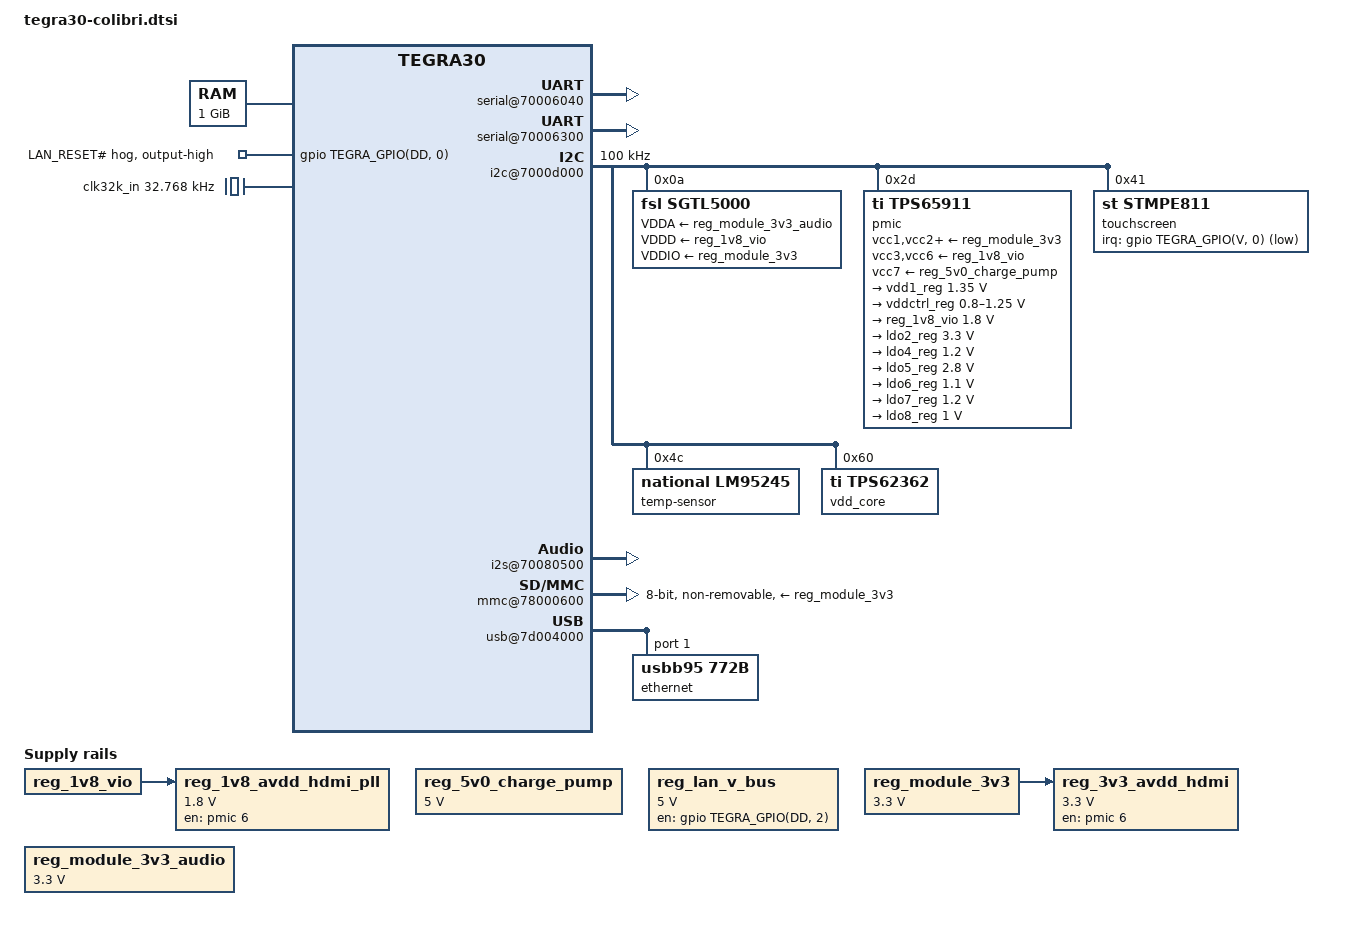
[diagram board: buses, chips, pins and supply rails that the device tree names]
// SPDX-License-Identifier: GPL-2.0
#include "tegra30.dtsi"

/*
 * Toradex Colibri T30 Module Device Tree
 * Compatible for Revisions V1.1B, V1.1C, V1.1D, V1.1E, V1.1F; IT: V1.1A, V1.1B
 */
/ {
	memory@80000000 {
		reg = <0x80000000 0x40000000>;
	};

	host1x@50000000 {
		hdmi@54280000 {
			nvidia,ddc-i2c-bus = <&hdmi_ddc>;
			nvidia,hpd-gpio =
				<&gpio TEGRA_GPIO(N, 7) GPIO_ACTIVE_HIGH>;
			pll-supply = <&reg_1v8_avdd_hdmi_pll>;
			vdd-supply = <&reg_3v3_avdd_hdmi>;
		};
	};

	gpio: gpio@6000d000 {
		lan-reset-n-hog {
			gpio-hog;
			gpios = <TEGRA_GPIO(DD, 0) GPIO_ACTIVE_HIGH>;
			output-high;
			line-name = "LAN_RESET#";
		};
	};

	pinmux@70000868 {
		pinctrl-names = "default";
		pinctrl-0 = <&state_default>;

		state_default: pinmux {
			/* Analogue Audio (On-module) */
			clk1-out-pw4 {
				nvidia,pins = "clk1_out_pw4";
				nvidia,function = "extperiph1";
				nvidia,pull = <TEGRA_PIN_PULL_NONE>;
				nvidia,tristate = <TEGRA_PIN_DISABLE>;
				nvidia,enable-input = <TEGRA_PIN_DISABLE>;
			};
			dap3-fs-pp0 {
				nvidia,pins = "dap3_fs_pp0",
					      "dap3_sclk_pp3",
					      "dap3_din_pp1",
					      "dap3_dout_pp2";
				nvidia,function = "i2s2";
				nvidia,pull = <TEGRA_PIN_PULL_NONE>;
				nvidia,tristate = <TEGRA_PIN_DISABLE>;
			};

			/* Colibri Address/Data Bus (GMI) */
			gmi-ad0-pg0 {
				nvidia,pins = "gmi_ad0_pg0",
					      "gmi_ad2_pg2",
					      "gmi_ad3_pg3",
					      "gmi_ad4_pg4",
					      "gmi_ad5_pg5",
					      "gmi_ad6_pg6",
					      "gmi_ad7_pg7",
					      "gmi_ad8_ph0",
					      "gmi_ad9_ph1",
					      "gmi_ad10_ph2",
					      "gmi_ad11_ph3",
					      "gmi_ad12_ph4",
					      "gmi_ad13_ph5",
					      "gmi_ad14_ph6",
					      "gmi_ad15_ph7",
					      "gmi_adv_n_pk0",
					      "gmi_clk_pk1",
					      "gmi_cs4_n_pk2",
					      "gmi_cs2_n_pk3",
					      "gmi_iordy_pi5",
					      "gmi_oe_n_pi1",
					      "gmi_wait_pi7",
					      "gmi_wr_n_pi0",
					      "dap1_fs_pn0",
					      "dap1_din_pn1",
					      "dap1_dout_pn2",
					      "dap1_sclk_pn3",
					      "dap2_fs_pa2",
					      "dap2_sclk_pa3",
					      "dap2_din_pa4",
					      "dap2_dout_pa5",
					      "spi1_sck_px5",
					      "spi1_mosi_px4",
					      "spi1_cs0_n_px6",
					      "spi2_cs0_n_px3",
					      "spi2_miso_px1",
					      "spi2_mosi_px0",
					      "spi2_sck_px2",
					      "uart2_cts_n_pj5",
					      "uart2_rts_n_pj6";
				nvidia,function = "gmi";
				nvidia,pull = <TEGRA_PIN_PULL_NONE>;
				nvidia,tristate = <TEGRA_PIN_DISABLE>;
				nvidia,enable-input = <TEGRA_PIN_ENABLE>;
			};
			/* Further pins may be used as GPIOs */
			dap4-din-pp5 {
				nvidia,pins = "dap4_din_pp5",
					      "dap4_dout_pp6",
					      "dap4_fs_pp4",
					      "dap4_sclk_pp7",
					      "pbb7",
					      "sdmmc1_clk_pz0",
					      "sdmmc1_cmd_pz1",
					      "sdmmc1_dat0_py7",
					      "sdmmc1_dat1_py6",
					      "sdmmc1_dat3_py4",
					      "uart3_cts_n_pa1",
					      "uart3_txd_pw6",
					      "uart3_rxd_pw7";
				nvidia,function = "rsvd2";
				nvidia,pull = <TEGRA_PIN_PULL_NONE>;
				nvidia,tristate = <TEGRA_PIN_DISABLE>;
				nvidia,enable-input = <TEGRA_PIN_ENABLE>;
			};
			lcd-d18-pm2 {
				nvidia,pins = "lcd_d18_pm2",
					      "lcd_d19_pm3",
					      "lcd_d20_pm4",
					      "lcd_d21_pm5",
					      "lcd_d22_pm6",
					      "lcd_d23_pm7",
					      "lcd_dc0_pn6",
					      "pex_l2_clkreq_n_pcc7";
				nvidia,function = "rsvd3";
				nvidia,pull = <TEGRA_PIN_PULL_NONE>;
				nvidia,tristate = <TEGRA_PIN_DISABLE>;
				nvidia,enable-input = <TEGRA_PIN_ENABLE>;
			};
			lcd-cs0-n-pn4 {
				nvidia,pins = "lcd_cs0_n_pn4",
					      "lcd_sdin_pz2",
					      "pu0",
					      "pu1",
					      "pu2",
					      "pu3",
					      "pu4",
					      "pu5",
					      "pu6",
					      "spi1_miso_px7",
					      "uart3_rts_n_pc0";
				nvidia,function = "rsvd4";
				nvidia,pull = <TEGRA_PIN_PULL_NONE>;
				nvidia,tristate = <TEGRA_PIN_DISABLE>;
				nvidia,enable-input = <TEGRA_PIN_ENABLE>;
			};
			lcd-pwr0-pb2 {
				nvidia,pins = "lcd_pwr0_pb2",
					      "lcd_sck_pz4",
					      "lcd_sdout_pn5",
					      "lcd_wr_n_pz3";
				nvidia,function = "hdcp";
				nvidia,pull = <TEGRA_PIN_PULL_NONE>;
				nvidia,tristate = <TEGRA_PIN_DISABLE>;
				nvidia,enable-input = <TEGRA_PIN_ENABLE>;
			};
			pbb4 {
				nvidia,pins = "pbb4",
					      "pbb5",
					      "pbb6";
				nvidia,function = "displayb";
				nvidia,pull = <TEGRA_PIN_PULL_NONE>;
				nvidia,tristate = <TEGRA_PIN_DISABLE>;
				nvidia,enable-input = <TEGRA_PIN_ENABLE>;
			};
			/* Multiplexed RDnWR and therefore disabled */
			lcd-cs1-n-pw0 {
				nvidia,pins = "lcd_cs1_n_pw0";
				nvidia,function = "rsvd4";
				nvidia,pull = <TEGRA_PIN_PULL_DOWN>;
				nvidia,tristate = <TEGRA_PIN_ENABLE>;
				nvidia,enable-input = <TEGRA_PIN_DISABLE>;
			};
			/* Multiplexed GMI_CLK and therefore disabled */
			owr {
				nvidia,pins = "owr";
				nvidia,function = "rsvd3";
				nvidia,pull = <TEGRA_PIN_PULL_DOWN>;
				nvidia,tristate = <TEGRA_PIN_ENABLE>;
				nvidia,enable-input = <TEGRA_PIN_DISABLE>;
			};
			/* Tri-stating GMI_WR_N on nPWE SODIMM pin 99 */
			sdmmc3-dat4-pd1 {
				nvidia,pins = "sdmmc3_dat4_pd1";
				nvidia,function = "sdmmc3";
				nvidia,pull = <TEGRA_PIN_PULL_UP>;
				nvidia,tristate = <TEGRA_PIN_ENABLE>;
				nvidia,enable-input = <TEGRA_PIN_DISABLE>;
			};
			/* Not tri-stating GMI_WR_N on RDnWR SODIMM pin 93 */
			sdmmc3-dat5-pd0 {
				nvidia,pins = "sdmmc3_dat5_pd0";
				nvidia,function = "sdmmc3";
				nvidia,pull = <TEGRA_PIN_PULL_DOWN>;
				nvidia,tristate = <TEGRA_PIN_ENABLE>;
				nvidia,enable-input = <TEGRA_PIN_DISABLE>;
			};

			/* Colibri BL_ON */
			pv2 {
				nvidia,pins = "pv2";
				nvidia,function = "rsvd4";
				nvidia,pull = <TEGRA_PIN_PULL_NONE>;
				nvidia,tristate = <TEGRA_PIN_DISABLE>;
			};

			/* Colibri Backlight PWM<A> */
			sdmmc3-dat3-pb4 {
				nvidia,pins = "sdmmc3_dat3_pb4";
				nvidia,function = "pwm0";
				nvidia,pull = <TEGRA_PIN_PULL_NONE>;
				nvidia,tristate = <TEGRA_PIN_DISABLE>;
			};

			/* Colibri CAN_INT */
			kb-row8-ps0 {
				nvidia,pins = "kb_row8_ps0";
				nvidia,function = "kbc";
				nvidia,pull = <TEGRA_PIN_PULL_NONE>;
				nvidia,tristate = <TEGRA_PIN_DISABLE>;
				nvidia,enable-input = <TEGRA_PIN_ENABLE>;
			};

			/* Colibri DDC */
			ddc-scl-pv4 {
				nvidia,pins = "ddc_scl_pv4",
					      "ddc_sda_pv5";
				nvidia,function = "i2c4";
				nvidia,pull = <TEGRA_PIN_PULL_NONE>;
				nvidia,tristate = <TEGRA_PIN_DISABLE>;
				nvidia,enable-input = <TEGRA_PIN_ENABLE>;
			};

			/* Colibri EXT_IO* */
			gen2-i2c-scl-pt5 {
				nvidia,pins = "gen2_i2c_scl_pt5",
					      "gen2_i2c_sda_pt6";
				nvidia,function = "rsvd4";
				nvidia,open-drain = <TEGRA_PIN_DISABLE>;
				nvidia,pull = <TEGRA_PIN_PULL_NONE>;
				nvidia,tristate = <TEGRA_PIN_DISABLE>;
				nvidia,enable-input = <TEGRA_PIN_ENABLE>;
			};
			spdif-in-pk6 {
				nvidia,pins = "spdif_in_pk6";
				nvidia,function = "hda";
				nvidia,pull = <TEGRA_PIN_PULL_NONE>;
				nvidia,tristate = <TEGRA_PIN_DISABLE>;
				nvidia,enable-input = <TEGRA_PIN_ENABLE>;
			};

			/* Colibri GPIO */
			clk2-out-pw5 {
				nvidia,pins = "clk2_out_pw5",
					      "pcc2",
					      "pv3",
					      "sdmmc1_dat2_py5";
				nvidia,function = "rsvd2";
				nvidia,pull = <TEGRA_PIN_PULL_NONE>;
				nvidia,tristate = <TEGRA_PIN_DISABLE>;
				nvidia,enable-input = <TEGRA_PIN_ENABLE>;
			};
			lcd-pwr1-pc1 {
				nvidia,pins = "lcd_pwr1_pc1",
					      "pex_l1_clkreq_n_pdd6",
					      "pex_l1_rst_n_pdd5";
				nvidia,function = "rsvd3";
				nvidia,pull = <TEGRA_PIN_PULL_NONE>;
				nvidia,tristate = <TEGRA_PIN_DISABLE>;
				nvidia,enable-input = <TEGRA_PIN_ENABLE>;
			};
			pv1 {
				nvidia,pins = "pv1",
					      "sdmmc3_dat0_pb7",
					      "sdmmc3_dat1_pb6";
				nvidia,function = "rsvd1";
				nvidia,pull = <TEGRA_PIN_PULL_NONE>;
				nvidia,tristate = <TEGRA_PIN_DISABLE>;
				nvidia,enable-input = <TEGRA_PIN_ENABLE>;
			};

			/* Colibri HOTPLUG_DETECT (HDMI) */
			hdmi-int-pn7 {
				nvidia,pins = "hdmi_int_pn7";
				nvidia,function = "hdmi";
				nvidia,pull = <TEGRA_PIN_PULL_NONE>;
				nvidia,tristate = <TEGRA_PIN_ENABLE>;
				nvidia,enable-input = <TEGRA_PIN_ENABLE>;
			};

			/* Colibri I2C */
			gen1-i2c-scl-pc4 {
				nvidia,pins = "gen1_i2c_scl_pc4",
					      "gen1_i2c_sda_pc5";
				nvidia,function = "i2c1";
				nvidia,pull = <TEGRA_PIN_PULL_NONE>;
				nvidia,tristate = <TEGRA_PIN_DISABLE>;
				nvidia,enable-input = <TEGRA_PIN_ENABLE>;
				nvidia,open-drain = <TEGRA_PIN_ENABLE>;
			};

			/* Colibri LCD (L_* resp. LDD<*>) */
			lcd-d0-pe0 {
				nvidia,pins = "lcd_d0_pe0",
					      "lcd_d1_pe1",
					      "lcd_d2_pe2",
					      "lcd_d3_pe3",
					      "lcd_d4_pe4",
					      "lcd_d5_pe5",
					      "lcd_d6_pe6",
					      "lcd_d7_pe7",
					      "lcd_d8_pf0",
					      "lcd_d9_pf1",
					      "lcd_d10_pf2",
					      "lcd_d11_pf3",
					      "lcd_d12_pf4",
					      "lcd_d13_pf5",
					      "lcd_d14_pf6",
					      "lcd_d15_pf7",
					      "lcd_d16_pm0",
					      "lcd_d17_pm1",
					      "lcd_de_pj1",
					      "lcd_hsync_pj3",
					      "lcd_pclk_pb3",
					      "lcd_vsync_pj4";
				nvidia,function = "displaya";
				nvidia,pull = <TEGRA_PIN_PULL_NONE>;
				nvidia,tristate = <TEGRA_PIN_DISABLE>;
				nvidia,enable-input = <TEGRA_PIN_ENABLE>;
			};
			/*
			 * Colibri L_BIAS, LCD_M1 is muxed with LCD_DE
			 * today's display need DE, disable LCD_M1
			 */
			lcd-m1-pw1 {
				nvidia,pins = "lcd_m1_pw1";
				nvidia,function = "rsvd3";
				nvidia,pull = <TEGRA_PIN_PULL_DOWN>;
				nvidia,tristate = <TEGRA_PIN_ENABLE>;
				nvidia,enable-input = <TEGRA_PIN_DISABLE>;
			};

			/* Colibri MMC */
			kb-row10-ps2 {
				nvidia,pins = "kb_row10_ps2";
				nvidia,function = "sdmmc2";
				nvidia,pull = <TEGRA_PIN_PULL_NONE>;
				nvidia,tristate = <TEGRA_PIN_DISABLE>;
			};
			kb-row11-ps3 {
				nvidia,pins = "kb_row11_ps3",
					      "kb_row12_ps4",
					      "kb_row13_ps5",
					      "kb_row14_ps6",
					      "kb_row15_ps7";
				nvidia,function = "sdmmc2";
				nvidia,pull = <TEGRA_PIN_PULL_UP>;
				nvidia,tristate = <TEGRA_PIN_DISABLE>;
			};
			/* Colibri MMC_CD */
			gmi-wp-n-pc7 {
				nvidia,pins = "gmi_wp_n_pc7";
				nvidia,function = "rsvd1";
				nvidia,pull = <TEGRA_PIN_PULL_UP>;
				nvidia,tristate = <TEGRA_PIN_DISABLE>;
				nvidia,enable-input = <TEGRA_PIN_ENABLE>;
			};
			/* Multiplexed and therefore disabled */
			cam-mclk-pcc0 {
				nvidia,pins = "cam_mclk_pcc0";
				nvidia,function = "vi_alt3";
				nvidia,pull = <TEGRA_PIN_PULL_DOWN>;
				nvidia,tristate = <TEGRA_PIN_ENABLE>;
				nvidia,enable-input = <TEGRA_PIN_DISABLE>;
			};
			cam-i2c-scl-pbb1 {
				nvidia,pins = "cam_i2c_scl_pbb1",
					      "cam_i2c_sda_pbb2";
				nvidia,function = "rsvd3";
				nvidia,pull = <TEGRA_PIN_PULL_DOWN>;
				nvidia,tristate = <TEGRA_PIN_ENABLE>;
				nvidia,enable-input = <TEGRA_PIN_DISABLE>;
				nvidia,open-drain = <TEGRA_PIN_DISABLE>;
			};
			pbb0 {
				nvidia,pins = "pbb0",
					      "pcc1";
				nvidia,function = "rsvd2";
				nvidia,pull = <TEGRA_PIN_PULL_DOWN>;
				nvidia,tristate = <TEGRA_PIN_ENABLE>;
				nvidia,enable-input = <TEGRA_PIN_DISABLE>;
			};
			pbb3 {
				nvidia,pins = "pbb3";
				nvidia,function = "displayb";
				nvidia,pull = <TEGRA_PIN_PULL_DOWN>;
				nvidia,tristate = <TEGRA_PIN_ENABLE>;
				nvidia,enable-input = <TEGRA_PIN_DISABLE>;
			};

			/* Colibri nRESET_OUT */
			gmi-rst-n-pi4 {
				nvidia,pins = "gmi_rst_n_pi4";
				nvidia,function = "gmi";
				nvidia,pull = <TEGRA_PIN_PULL_NONE>;
				nvidia,tristate = <TEGRA_PIN_DISABLE>;
			};

			/*
			 * Colibri Parallel Camera (Optional)
			 * pins multiplexed with others and therefore disabled
			 */
			vi-vsync-pd6 {
				nvidia,pins = "vi_d0_pt4",
					      "vi_d1_pd5",
					      "vi_d2_pl0",
					      "vi_d3_pl1",
					      "vi_d4_pl2",
					      "vi_d5_pl3",
					      "vi_d6_pl4",
					      "vi_d7_pl5",
					      "vi_d8_pl6",
					      "vi_d9_pl7",
					      "vi_d10_pt2",
					      "vi_d11_pt3",
					      "vi_hsync_pd7",
					      "vi_mclk_pt1",
					      "vi_pclk_pt0",
					      "vi_vsync_pd6";
				nvidia,function = "vi";
				nvidia,pull = <TEGRA_PIN_PULL_DOWN>;
				nvidia,tristate = <TEGRA_PIN_ENABLE>;
				nvidia,enable-input = <TEGRA_PIN_DISABLE>;
			};

			/* Colibri PWM<B> */
			sdmmc3-dat2-pb5 {
				nvidia,pins = "sdmmc3_dat2_pb5";
				nvidia,function = "pwm1";
				nvidia,pull = <TEGRA_PIN_PULL_NONE>;
				nvidia,tristate = <TEGRA_PIN_DISABLE>;
			};

			/* Colibri PWM<C> */
			sdmmc3-clk-pa6 {
				nvidia,pins = "sdmmc3_clk_pa6";
				nvidia,function = "pwm2";
				nvidia,pull = <TEGRA_PIN_PULL_NONE>;
				nvidia,tristate = <TEGRA_PIN_DISABLE>;
			};

			/* Colibri PWM<D> */
			sdmmc3-cmd-pa7 {
				nvidia,pins = "sdmmc3_cmd_pa7";
				nvidia,function = "pwm3";
				nvidia,pull = <TEGRA_PIN_PULL_NONE>;
				nvidia,tristate = <TEGRA_PIN_DISABLE>;
			};

			/* Colibri SSP */
			ulpi-clk-py0 {
				nvidia,pins = "ulpi_clk_py0",
					      "ulpi_dir_py1",
					      "ulpi_nxt_py2",
					      "ulpi_stp_py3";
				nvidia,function = "spi1";
				nvidia,pull = <TEGRA_PIN_PULL_NONE>;
				nvidia,tristate = <TEGRA_PIN_DISABLE>;
			};
			/* Multiplexed SSPFRM, SSPTXD and therefore disabled */
			sdmmc3-dat6-pd3 {
				nvidia,pins = "sdmmc3_dat6_pd3",
					      "sdmmc3_dat7_pd4";
				nvidia,function = "spdif";
				nvidia,pull = <TEGRA_PIN_PULL_DOWN>;
				nvidia,tristate = <TEGRA_PIN_ENABLE>;
				nvidia,enable-input = <TEGRA_PIN_DISABLE>;
			};

			/* Colibri UART-A */
			ulpi-data0 {
				nvidia,pins = "ulpi_data0_po1",
					      "ulpi_data1_po2",
					      "ulpi_data2_po3",
					      "ulpi_data3_po4",
					      "ulpi_data4_po5",
					      "ulpi_data5_po6",
					      "ulpi_data6_po7",
					      "ulpi_data7_po0";
				nvidia,function = "uarta";
				nvidia,pull = <TEGRA_PIN_PULL_NONE>;
				nvidia,tristate = <TEGRA_PIN_DISABLE>;
			};

			/* Colibri UART-B */
			gmi-a16-pj7 {
				nvidia,pins = "gmi_a16_pj7",
					      "gmi_a17_pb0",
					      "gmi_a18_pb1",
					      "gmi_a19_pk7";
				nvidia,function = "uartd";
				nvidia,pull = <TEGRA_PIN_PULL_NONE>;
				nvidia,tristate = <TEGRA_PIN_DISABLE>;
			};

			/* Colibri UART-C */
			uart2-rxd {
				nvidia,pins = "uart2_rxd_pc3",
					      "uart2_txd_pc2";
				nvidia,function = "uartb";
				nvidia,pull = <TEGRA_PIN_PULL_NONE>;
				nvidia,tristate = <TEGRA_PIN_DISABLE>;
			};

			/* Colibri USBC_DET */
			spdif-out-pk5 {
				nvidia,pins = "spdif_out_pk5";
				nvidia,function = "rsvd2";
				nvidia,pull = <TEGRA_PIN_PULL_NONE>;
				nvidia,tristate = <TEGRA_PIN_DISABLE>;
				nvidia,enable-input = <TEGRA_PIN_ENABLE>;
			};

			/* Colibri USBH_PEN */
			spi2-cs1-n-pw2 {
				nvidia,pins = "spi2_cs1_n_pw2";
				nvidia,function = "spi2_alt";
				nvidia,pull = <TEGRA_PIN_PULL_NONE>;
				nvidia,tristate = <TEGRA_PIN_DISABLE>;
			};

			/* Colibri USBH_OC */
			spi2-cs2-n-pw3 {
				nvidia,pins = "spi2_cs2_n_pw3";
				nvidia,function = "spi2_alt";
				nvidia,pull = <TEGRA_PIN_PULL_NONE>;
				nvidia,tristate = <TEGRA_PIN_DISABLE>;
				nvidia,enable-input = <TEGRA_PIN_ENABLE>;
			};

			/* Colibri VGA not supported and therefore disabled */
			crt-hsync-pv6 {
				nvidia,pins = "crt_hsync_pv6",
					      "crt_vsync_pv7";
				nvidia,function = "rsvd2";
				nvidia,pull = <TEGRA_PIN_PULL_DOWN>;
				nvidia,tristate = <TEGRA_PIN_ENABLE>;
				nvidia,enable-input = <TEGRA_PIN_DISABLE>;
			};

			/* eMMC (On-module) */
			sdmmc4-clk-pcc4 {
				nvidia,pins = "sdmmc4_clk_pcc4",
					      "sdmmc4_cmd_pt7",
					      "sdmmc4_rst_n_pcc3";
				nvidia,function = "sdmmc4";
				nvidia,pull = <TEGRA_PIN_PULL_NONE>;
				nvidia,tristate = <TEGRA_PIN_DISABLE>;
				nvidia,enable-input = <TEGRA_PIN_ENABLE>;
			};
			sdmmc4-dat0-paa0 {
				nvidia,pins = "sdmmc4_dat0_paa0",
					      "sdmmc4_dat1_paa1",
					      "sdmmc4_dat2_paa2",
					      "sdmmc4_dat3_paa3",
					      "sdmmc4_dat4_paa4",
					      "sdmmc4_dat5_paa5",
					      "sdmmc4_dat6_paa6",
					      "sdmmc4_dat7_paa7";
				nvidia,function = "sdmmc4";
				nvidia,pull = <TEGRA_PIN_PULL_UP>;
				nvidia,tristate = <TEGRA_PIN_DISABLE>;
				nvidia,enable-input = <TEGRA_PIN_ENABLE>;
			};

			/* LAN_EXT_WAKEUP#, LAN_PME (On-module) */
			pex-l0-rst-n-pdd1 {
				nvidia,pins = "pex_l0_rst_n_pdd1",
					      "pex_wake_n_pdd3";
				nvidia,function = "rsvd3";
				nvidia,pull = <TEGRA_PIN_PULL_NONE>;
				nvidia,tristate = <TEGRA_PIN_DISABLE>;
				nvidia,enable-input = <TEGRA_PIN_ENABLE>;
			};
			/* LAN_V_BUS, LAN_RESET# (On-module) */
			pex-l0-clkreq-n-pdd2 {
				nvidia,pins = "pex_l0_clkreq_n_pdd2",
					      "pex_l0_prsnt_n_pdd0";
				nvidia,function = "rsvd3";
				nvidia,pull = <TEGRA_PIN_PULL_NONE>;
				nvidia,tristate = <TEGRA_PIN_DISABLE>;
				nvidia,enable-input = <TEGRA_PIN_DISABLE>;
			};

			/* nBATT_FAULT(SENSE), nVDD_FAULT(SENSE) */
			pex-l2-rst-n-pcc6 {
				nvidia,pins = "pex_l2_rst_n_pcc6",
					      "pex_l2_prsnt_n_pdd7";
				nvidia,function = "rsvd3";
				nvidia,pull = <TEGRA_PIN_PULL_NONE>;
				nvidia,tristate = <TEGRA_PIN_DISABLE>;
				nvidia,enable-input = <TEGRA_PIN_ENABLE>;
			};

			/* Not connected and therefore disabled */
			clk1-req-pee2 {
				nvidia,pins = "clk1_req_pee2",
					      "pex_l1_prsnt_n_pdd4";
				nvidia,function = "rsvd3";
				nvidia,pull = <TEGRA_PIN_PULL_DOWN>;
				nvidia,tristate = <TEGRA_PIN_ENABLE>;
				nvidia,enable-input = <TEGRA_PIN_DISABLE>;
			};
			clk2-req-pcc5 {
				nvidia,pins = "clk2_req_pcc5",
					      "clk3_out_pee0",
					      "clk3_req_pee1",
					      "clk_32k_out_pa0",
					      "hdmi_cec_pee3",
					      "sys_clk_req_pz5";
				nvidia,function = "rsvd2";
				nvidia,pull = <TEGRA_PIN_PULL_DOWN>;
				nvidia,tristate = <TEGRA_PIN_ENABLE>;
				nvidia,enable-input = <TEGRA_PIN_DISABLE>;
			};
			gmi-dqs-pi2 {
				nvidia,pins = "gmi_dqs_pi2",
					      "kb_col2_pq2",
					      "kb_col3_pq3",
					      "kb_col4_pq4",
					      "kb_col5_pq5",
					      "kb_row4_pr4";
				nvidia,function = "rsvd4";
				nvidia,pull = <TEGRA_PIN_PULL_DOWN>;
				nvidia,tristate = <TEGRA_PIN_ENABLE>;
				nvidia,enable-input = <TEGRA_PIN_DISABLE>;
			};
			kb-col0-pq0 {
				nvidia,pins = "kb_col0_pq0",
					      "kb_col1_pq1",
					      "kb_col6_pq6",
					      "kb_col7_pq7",
					      "kb_row5_pr5",
					      "kb_row6_pr6",
					      "kb_row7_pr7",
					      "kb_row9_ps1";
				nvidia,function = "kbc";
				nvidia,pull = <TEGRA_PIN_PULL_DOWN>;
				nvidia,tristate = <TEGRA_PIN_ENABLE>;
				nvidia,enable-input = <TEGRA_PIN_DISABLE>;
			};
			kb-row0-pr0 {
				nvidia,pins = "kb_row0_pr0",
					      "kb_row1_pr1",
					      "kb_row2_pr2",
					      "kb_row3_pr3";
				nvidia,function = "rsvd3";
				nvidia,pull = <TEGRA_PIN_PULL_DOWN>;
				nvidia,tristate = <TEGRA_PIN_ENABLE>;
				nvidia,enable-input = <TEGRA_PIN_DISABLE>;
			};
			lcd-pwr2-pc6 {
				nvidia,pins = "lcd_pwr2_pc6";
				nvidia,function = "hdcp";
				nvidia,pull = <TEGRA_PIN_PULL_DOWN>;
				nvidia,tristate = <TEGRA_PIN_ENABLE>;
				nvidia,enable-input = <TEGRA_PIN_DISABLE>;
			};

			/* Power I2C (On-module) */
			pwr-i2c-scl-pz6 {
				nvidia,pins = "pwr_i2c_scl_pz6",
					      "pwr_i2c_sda_pz7";
				nvidia,function = "i2cpwr";
				nvidia,pull = <TEGRA_PIN_PULL_NONE>;
				nvidia,tristate = <TEGRA_PIN_DISABLE>;
				nvidia,enable-input = <TEGRA_PIN_ENABLE>;
				nvidia,open-drain = <TEGRA_PIN_ENABLE>;
			};

			/*
			 * THERMD_ALERT#, unlatched I2C address pin of LM95245
			 * temperature sensor therefore requires disabling for
			 * now
			 */
			lcd-dc1-pd2 {
				nvidia,pins = "lcd_dc1_pd2";
				nvidia,function = "rsvd3";
				nvidia,pull = <TEGRA_PIN_PULL_DOWN>;
				nvidia,tristate = <TEGRA_PIN_ENABLE>;
				nvidia,enable-input = <TEGRA_PIN_DISABLE>;
			};

			/* TOUCH_PEN_INT# (On-module) */
			pv0 {
				nvidia,pins = "pv0";
				nvidia,function = "rsvd1";
				nvidia,pull = <TEGRA_PIN_PULL_NONE>;
				nvidia,tristate = <TEGRA_PIN_DISABLE>;
				nvidia,enable-input = <TEGRA_PIN_ENABLE>;
			};
		};
	};

	serial@70006040 {
		compatible = "nvidia,tegra30-hsuart";
		reset-names = "serial";
		/delete-property/ reg-shift;
	};

	serial@70006300 {
		compatible = "nvidia,tegra30-hsuart";
		reset-names = "serial";
		/delete-property/ reg-shift;
	};

	hdmi_ddc: i2c@7000c700 {
		clock-frequency = <10000>;
	};

	/*
	 * PWR_I2C: power I2C to audio codec, PMIC, temperature sensor and
	 * touch screen controller (On-module)
	 */
	i2c@7000d000 {
		status = "okay";
		clock-frequency = <100000>;

		/* SGTL5000 audio codec */
		sgtl5000: codec@a {
			compatible = "fsl,sgtl5000";
			reg = <0x0a>;
			#sound-dai-cells = <0>;
			VDDA-supply = <&reg_module_3v3_audio>;
			VDDD-supply = <&reg_1v8_vio>;
			VDDIO-supply = <&reg_module_3v3>;
			clocks = <&tegra_car TEGRA30_CLK_EXTERN1>;
		};

		pmic: pmic@2d {
			compatible = "ti,tps65911";
			reg = <0x2d>;

			interrupts = <GIC_SPI 86 IRQ_TYPE_LEVEL_HIGH>;
			#interrupt-cells = <2>;
			interrupt-controller;
			wakeup-source;

			ti,system-power-controller;

			#gpio-cells = <2>;
			gpio-controller;

			vcc1-supply = <&reg_module_3v3>;
			vcc2-supply = <&reg_module_3v3>;
			vcc3-supply = <&reg_1v8_vio>;
			vcc4-supply = <&reg_module_3v3>;
			vcc5-supply = <&reg_module_3v3>;
			vcc6-supply = <&reg_1v8_vio>;
			vcc7-supply = <&reg_5v0_charge_pump>;
			vccio-supply = <&reg_module_3v3>;

			regulators {
				vdd1_reg: vdd1 {
					regulator-name = "+V1.35_VDDIO_DDR";
					regulator-min-microvolt = <1350000>;
					regulator-max-microvolt = <1350000>;
					regulator-always-on;
				};

				/* SW2: unused */

				vddctrl_reg: vddctrl {
					regulator-name = "+V1.0_VDD_CPU";
					regulator-min-microvolt = <800000>;
					regulator-max-microvolt = <1250000>;
					regulator-coupled-with = <&vdd_core>;
					regulator-coupled-max-spread = <300000>;
					regulator-max-step-microvolt = <100000>;
					regulator-always-on;

					nvidia,tegra-cpu-regulator;
				};

				reg_1v8_vio: vio {
					regulator-name = "+V1.8";
					regulator-min-microvolt = <1800000>;
					regulator-max-microvolt = <1800000>;
					regulator-always-on;
				};

				/* LDO1: unused */

				/*
				 * EN_+V3.3 switching via FET:
				 * +V3.3_AUDIO_AVDD_S, +V3.3 and +V1.8_VDD_LAN
				 * see also +V3.3 fixed supply
				 */
				ldo2_reg: ldo2 {
					regulator-name = "EN_+V3.3";
					regulator-min-microvolt = <3300000>;
					regulator-max-microvolt = <3300000>;
					regulator-always-on;
				};

				/* LDO3: unused */

				ldo4_reg: ldo4 {
					regulator-name = "+V1.2_VDD_RTC";
					regulator-min-microvolt = <1200000>;
					regulator-max-microvolt = <1200000>;
					regulator-always-on;
				};

				/*
				 * +V2.8_AVDD_VDAC:
				 * only required for (unsupported) analog RGB
				 */
				ldo5_reg: ldo5 {
					regulator-name = "+V2.8_AVDD_VDAC";
					regulator-min-microvolt = <2800000>;
					regulator-max-microvolt = <2800000>;
					regulator-always-on;
				};

				/*
				 * +V1.05_AVDD_PLLE: avdd_plle should be 1.05V
				 * but LDO6 can't set voltage in 50mV
				 * granularity
				 */
				ldo6_reg: ldo6 {
					regulator-name = "+V1.05_AVDD_PLLE";
					regulator-min-microvolt = <1100000>;
					regulator-max-microvolt = <1100000>;
				};

				ldo7_reg: ldo7 {
					regulator-name = "+V1.2_AVDD_PLL";
					regulator-min-microvolt = <1200000>;
					regulator-max-microvolt = <1200000>;
					regulator-always-on;
				};

				ldo8_reg: ldo8 {
					regulator-name = "+V1.0_VDD_DDR_HS";
					regulator-min-microvolt = <1000000>;
					regulator-max-microvolt = <1000000>;
					regulator-always-on;
				};
			};
		};

		/* STMPE811 touch screen controller */
		touchscreen@41 {
			compatible = "st,stmpe811";
			reg = <0x41>;
			irq-gpio = <&gpio TEGRA_GPIO(V, 0) GPIO_ACTIVE_LOW>;
			id = <0>;
			blocks = <0x5>;
			irq-trigger = <0x1>;
			/* 3.25 MHz ADC clock speed */
			st,adc-freq = <1>;
			/* 12-bit ADC */
			st,mod-12b = <1>;
			/* internal ADC reference */
			st,ref-sel = <0>;
			/* ADC converstion time: 80 clocks */
			st,sample-time = <4>;
			/* forbid to use ADC channels 3-0 (touch) */

			stmpe_adc {
				compatible = "st,stmpe-adc";
				st,norequest-mask = <0x0F>;
			};

			stmpe_touchscreen {
				compatible = "st,stmpe-ts";
				/* 8 sample average control */
				st,ave-ctrl = <3>;
				/* 7 length fractional part in z */
				st,fraction-z = <7>;
				/*
				 * 50 mA typical 80 mA max touchscreen drivers
				 * current limit value
				 */
				st,i-drive = <1>;
				/* 1 ms panel driver settling time */
				st,settling = <3>;
				/* 5 ms touch detect interrupt delay */
				st,touch-det-delay = <5>;
			};
		};

		/*
		 * LM95245 temperature sensor
		 * Note: OVERT1# directly connected to TPS65911 PMIC PWRDN
		 */
		temp-sensor@4c {
			compatible = "national,lm95245";
			reg = <0x4c>;
		};

		/* SW: +V1.2_VDD_CORE */
		vdd_core: regulator@60 {
			compatible = "ti,tps62362";
			reg = <0x60>;

			regulator-name = "tps62362-vout";
			regulator-min-microvolt = <900000>;
			regulator-max-microvolt = <1400000>;
			regulator-coupled-with = <&vddctrl_reg>;
			regulator-coupled-max-spread = <300000>;
			regulator-max-step-microvolt = <100000>;
			regulator-boot-on;
			regulator-always-on;

			nvidia,tegra-core-regulator;
		};
	};

	pmc@7000e400 {
		nvidia,invert-interrupt;
		nvidia,suspend-mode = <1>;
		nvidia,cpu-pwr-good-time = <5000>;
		nvidia,cpu-pwr-off-time = <5000>;
		nvidia,core-pwr-good-time = <3845 3845>;
		nvidia,core-pwr-off-time = <0>;
		nvidia,core-power-req-active-high;
		nvidia,sys-clock-req-active-high;
		core-supply = <&vdd_core>;

		/* Set DEV_OFF bit in DCDC control register of TPS65911 PMIC */
		i2c-thermtrip {
			nvidia,i2c-controller-id = <4>;
			nvidia,bus-addr = <0x2d>;
			nvidia,reg-addr = <0x3f>;
			nvidia,reg-data = <0x1>;
		};
	};

	hda@70030000 {
		status = "okay";
	};

	ahub@70080000 {
		i2s@70080500 {
			status = "okay";
		};
	};

	/* eMMC */
	mmc@78000600 {
		status = "okay";
		bus-width = <8>;
		non-removable;
		vmmc-supply = <&reg_module_3v3>; /* VCC */
		vqmmc-supply = <&reg_1v8_vio>; /* VCCQ */
		mmc-ddr-1_8v;
	};

	/* EHCI instance 1: USB2_DP/N -> AX88772B (On-module) */
	usb@7d004000 {
		status = "okay";
		#address-cells = <1>;
		#size-cells = <0>;

		ethernet@1 {
			compatible = "usbb95,772b";
			reg = <1>;
			local-mac-address = [00 00 00 00 00 00];
		};
	};

	usb-phy@7d004000 {
		status = "okay";
		vbus-supply = <&reg_lan_v_bus>;
	};

	clk32k_in: clock-xtal1 {
		compatible = "fixed-clock";
		#clock-cells = <0>;
		clock-frequency = <32768>;
	};

	reg_1v8_avdd_hdmi_pll: regulator-1v8-avdd-hdmi-pll {
		compatible = "regulator-fixed";
		regulator-name = "+V1.8_AVDD_HDMI_PLL";
		regulator-min-microvolt = <1800000>;
		regulator-max-microvolt = <1800000>;
		enable-active-high;
		gpio = <&pmic 6 GPIO_ACTIVE_HIGH>;
		vin-supply = <&reg_1v8_vio>;
	};

	reg_3v3_avdd_hdmi: regulator-3v3-avdd-hdmi {
		compatible = "regulator-fixed";
		regulator-name = "+V3.3_AVDD_HDMI";
		regulator-min-microvolt = <3300000>;
		regulator-max-microvolt = <3300000>;
		enable-active-high;
		gpio = <&pmic 6 GPIO_ACTIVE_HIGH>;
		vin-supply = <&reg_module_3v3>;
	};

	reg_5v0_charge_pump: regulator-5v0-charge-pump {
		compatible = "regulator-fixed";
		regulator-name = "+V5.0";
		regulator-min-microvolt = <5000000>;
		regulator-max-microvolt = <5000000>;
		regulator-always-on;
	};

	reg_lan_v_bus: regulator-lan-v-bus {
		compatible = "regulator-fixed";
		regulator-name = "LAN_V_BUS";
		regulator-min-microvolt = <5000000>;
		regulator-max-microvolt = <5000000>;
		enable-active-high;
		gpio = <&gpio TEGRA_GPIO(DD, 2) GPIO_ACTIVE_HIGH>;
	};

	reg_module_3v3: regulator-module-3v3 {
		compatible = "regulator-fixed";
		regulator-name = "+V3.3";
		regulator-min-microvolt = <3300000>;
		regulator-max-microvolt = <3300000>;
		regulator-always-on;
	};

	reg_module_3v3_audio: regulator-module-3v3-audio {
		compatible = "regulator-fixed";
		regulator-name = "+V3.3_AUDIO_AVDD_S";
		regulator-min-microvolt = <3300000>;
		regulator-max-microvolt = <3300000>;
		regulator-always-on;
	};

	sound {
		compatible = "toradex,tegra-audio-sgtl5000-colibri_t30",
			     "nvidia,tegra-audio-sgtl5000";
		nvidia,model = "Toradex Colibri T30";
		nvidia,audio-routing =
			"Headphone Jack", "HP_OUT",
			"LINE_IN", "Line In Jack",
			"MIC_IN", "Mic Jack";
		nvidia,i2s-controller = <&tegra_i2s2>;
		nvidia,audio-codec = <&sgtl5000>;
		clocks = <&tegra_car TEGRA30_CLK_PLL_A>,
			 <&tegra_car TEGRA30_CLK_PLL_A_OUT0>,
			 <&tegra_pmc TEGRA_PMC_CLK_OUT_1>;
		clock-names = "pll_a", "pll_a_out0", "mclk";

		assigned-clocks = <&tegra_car TEGRA30_CLK_EXTERN1>,
				  <&tegra_pmc TEGRA_PMC_CLK_OUT_1>;

		assigned-clock-parents = <&tegra_car TEGRA30_CLK_PLL_A_OUT0>,
					 <&tegra_car TEGRA30_CLK_EXTERN1>;
	};
};
